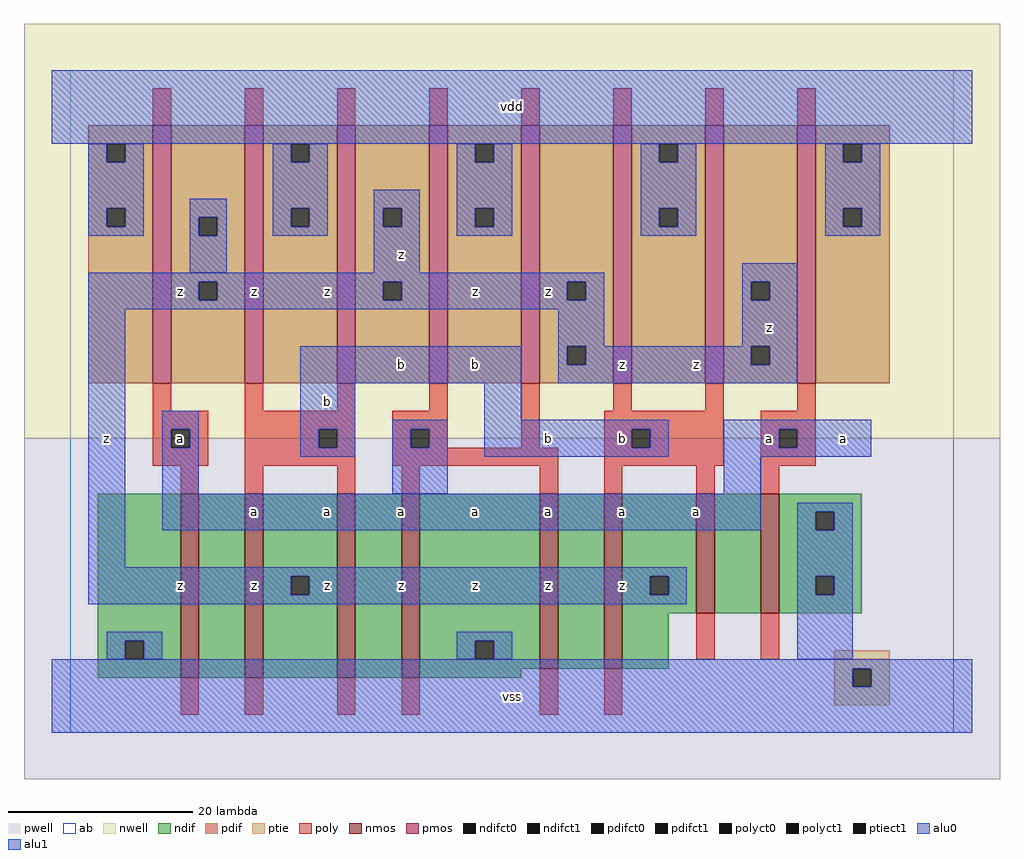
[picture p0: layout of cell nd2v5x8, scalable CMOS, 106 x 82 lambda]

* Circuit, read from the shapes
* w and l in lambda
.subckt nd2v5x8 a b vdd vss z
M1 n1 a vss vss nfet w=20 l=2
M2 z b n1 vss nfet w=20 l=2
M3 n2 b z vss nfet w=20 l=2
M4 vss a n2 vss nfet w=20 l=2
M5 n3 a vss vss nfet w=19 l=2
M6 z b n3 vss nfet w=19 l=2
M7 n4 b z vss nfet w=13 l=2
M8 vss a n4 vss nfet w=13 l=2
M9 z a vdd n5 pfet w=28 l=2 m=4
M10 vdd b z n5 pfet w=28 l=2 m=4
.ends

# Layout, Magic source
magic
tech scmos
<< ab >>
rect 0 0 96 72
<< nwell >>
rect -5 32 101 77
<< pwell >>
rect -5 -5 101 32
<< poly >>
rect 9 66 11 70
rect 19 66 21 70
rect 29 66 31 70
rect 39 66 41 70
rect 49 66 51 70
rect 59 66 61 70
rect 69 66 71 70
rect 79 66 81 70
rect 9 35 11 38
rect 19 35 21 38
rect 29 35 31 38
rect 39 35 41 38
rect 9 33 15 35
rect 9 31 11 33
rect 13 31 15 33
rect 9 29 15 31
rect 19 33 31 35
rect 19 31 27 33
rect 29 31 31 33
rect 19 29 31 31
rect 35 33 41 35
rect 35 31 37 33
rect 39 31 41 33
rect 49 31 51 38
rect 59 35 61 38
rect 69 35 71 38
rect 79 35 81 38
rect 58 33 71 35
rect 58 31 61 33
rect 63 31 71 33
rect 35 29 53 31
rect 12 26 14 29
rect 19 26 21 29
rect 29 26 31 29
rect 36 26 38 29
rect 51 26 53 29
rect 58 29 71 31
rect 75 33 81 35
rect 75 31 77 33
rect 79 31 81 33
rect 75 29 81 31
rect 58 26 60 29
rect 68 26 70 29
rect 75 26 77 29
rect 68 8 70 13
rect 75 8 77 13
rect 12 2 14 6
rect 19 2 21 6
rect 29 2 31 6
rect 36 2 38 6
rect 51 2 53 7
rect 58 2 60 7
<< ndif >>
rect 3 10 12 26
rect 3 8 6 10
rect 8 8 12 10
rect 3 6 12 8
rect 14 6 19 26
rect 21 17 29 26
rect 21 15 24 17
rect 26 15 29 17
rect 21 6 29 15
rect 31 6 36 26
rect 38 10 51 26
rect 38 8 44 10
rect 46 8 51 10
rect 38 7 51 8
rect 53 7 58 26
rect 60 17 68 26
rect 60 15 63 17
rect 65 15 68 17
rect 60 13 68 15
rect 70 13 75 26
rect 77 24 86 26
rect 77 22 81 24
rect 83 22 86 24
rect 77 17 86 22
rect 77 15 81 17
rect 83 15 86 17
rect 77 13 86 15
rect 60 7 65 13
rect 38 6 49 7
<< pdif >>
rect 2 64 9 66
rect 2 62 4 64
rect 6 62 9 64
rect 2 57 9 62
rect 2 55 4 57
rect 6 55 9 57
rect 2 38 9 55
rect 11 56 19 66
rect 11 54 14 56
rect 16 54 19 56
rect 11 49 19 54
rect 11 47 14 49
rect 16 47 19 49
rect 11 38 19 47
rect 21 64 29 66
rect 21 62 24 64
rect 26 62 29 64
rect 21 57 29 62
rect 21 55 24 57
rect 26 55 29 57
rect 21 38 29 55
rect 31 57 39 66
rect 31 55 34 57
rect 36 55 39 57
rect 31 49 39 55
rect 31 47 34 49
rect 36 47 39 49
rect 31 38 39 47
rect 41 64 49 66
rect 41 62 44 64
rect 46 62 49 64
rect 41 57 49 62
rect 41 55 44 57
rect 46 55 49 57
rect 41 38 49 55
rect 51 49 59 66
rect 51 47 54 49
rect 56 47 59 49
rect 51 42 59 47
rect 51 40 54 42
rect 56 40 59 42
rect 51 38 59 40
rect 61 64 69 66
rect 61 62 64 64
rect 66 62 69 64
rect 61 57 69 62
rect 61 55 64 57
rect 66 55 69 57
rect 61 38 69 55
rect 71 49 79 66
rect 71 47 74 49
rect 76 47 79 49
rect 71 42 79 47
rect 71 40 74 42
rect 76 40 79 42
rect 71 38 79 40
rect 81 64 89 66
rect 81 62 84 64
rect 86 62 89 64
rect 81 57 89 62
rect 81 55 84 57
rect 86 55 89 57
rect 81 38 89 55
<< alu1 >>
rect -2 64 98 72
rect 33 57 38 59
rect 33 55 34 57
rect 36 55 38 57
rect 33 50 38 55
rect 2 49 58 50
rect 2 47 14 49
rect 16 47 34 49
rect 36 47 54 49
rect 56 47 58 49
rect 2 46 58 47
rect 2 18 6 46
rect 53 42 58 46
rect 73 49 79 51
rect 73 47 74 49
rect 76 47 79 49
rect 73 42 79 47
rect 25 38 49 42
rect 53 40 54 42
rect 56 40 74 42
rect 76 40 79 42
rect 53 38 79 40
rect 10 33 14 35
rect 10 31 11 33
rect 13 31 14 33
rect 10 26 14 31
rect 25 33 31 38
rect 45 34 49 38
rect 25 31 27 33
rect 29 31 31 33
rect 25 30 31 31
rect 45 33 65 34
rect 45 31 61 33
rect 63 31 65 33
rect 45 30 65 31
rect 71 33 87 34
rect 71 31 77 33
rect 79 31 87 33
rect 71 30 87 31
rect 71 26 75 30
rect 10 22 75 26
rect 2 17 67 18
rect 2 15 24 17
rect 26 15 63 17
rect 65 15 67 17
rect 2 14 67 15
rect -2 7 98 8
rect -2 5 85 7
rect 87 5 98 7
rect -2 0 98 5
<< ptie >>
rect 83 7 89 9
rect 83 5 85 7
rect 87 5 89 7
rect 83 3 89 5
<< nmos >>
rect 12 6 14 26
rect 19 6 21 26
rect 29 6 31 26
rect 36 6 38 26
rect 51 7 53 26
rect 58 7 60 26
rect 68 13 70 26
rect 75 13 77 26
<< pmos >>
rect 9 38 11 66
rect 19 38 21 66
rect 29 38 31 66
rect 39 38 41 66
rect 49 38 51 66
rect 59 38 61 66
rect 69 38 71 66
rect 79 38 81 66
<< polyct0 >>
rect 37 31 39 33
<< polyct1 >>
rect 11 31 13 33
rect 27 31 29 33
rect 61 31 63 33
rect 77 31 79 33
<< ndifct0 >>
rect 6 8 8 10
rect 44 8 46 10
rect 81 22 83 24
rect 81 15 83 17
<< ndifct1 >>
rect 24 15 26 17
rect 63 15 65 17
<< ptiect1 >>
rect 85 5 87 7
<< pdifct0 >>
rect 4 62 6 64
rect 4 55 6 57
rect 14 54 16 56
rect 24 62 26 64
rect 24 55 26 57
rect 44 62 46 64
rect 44 55 46 57
rect 64 62 66 64
rect 64 55 66 57
rect 84 62 86 64
rect 84 55 86 57
<< pdifct1 >>
rect 14 47 16 49
rect 34 55 36 57
rect 34 47 36 49
rect 54 47 56 49
rect 54 40 56 42
rect 74 47 76 49
rect 74 40 76 42
<< alu0 >>
rect 2 62 4 64
rect 6 62 8 64
rect 2 57 8 62
rect 22 62 24 64
rect 26 62 28 64
rect 2 55 4 57
rect 6 55 8 57
rect 2 54 8 55
rect 13 56 17 58
rect 13 54 14 56
rect 16 54 17 56
rect 22 57 28 62
rect 42 62 44 64
rect 46 62 48 64
rect 22 55 24 57
rect 26 55 28 57
rect 22 54 28 55
rect 13 50 17 54
rect 42 57 48 62
rect 42 55 44 57
rect 46 55 48 57
rect 42 54 48 55
rect 62 62 64 64
rect 66 62 68 64
rect 62 57 68 62
rect 62 55 64 57
rect 66 55 68 57
rect 62 54 68 55
rect 82 62 84 64
rect 86 62 88 64
rect 82 57 88 62
rect 82 55 84 57
rect 86 55 88 57
rect 82 54 88 55
rect 35 33 41 34
rect 35 31 37 33
rect 39 31 41 33
rect 35 26 41 31
rect 79 24 85 25
rect 79 22 81 24
rect 83 22 85 24
rect 79 17 85 22
rect 79 15 81 17
rect 83 15 85 17
rect 4 10 10 11
rect 4 8 6 10
rect 8 8 10 10
rect 42 10 48 11
rect 42 8 44 10
rect 46 8 48 10
rect 79 8 85 15
<< labels >>
rlabel alu1 12 16 12 16 6 z
rlabel alu1 4 32 4 32 6 z
rlabel polyct1 12 32 12 32 6 a
rlabel alu1 12 48 12 48 6 z
rlabel alu1 28 16 28 16 6 z
rlabel alu1 20 16 20 16 6 z
rlabel alu1 20 24 20 24 6 a
rlabel alu1 28 24 28 24 6 a
rlabel alu1 28 36 28 36 6 b
rlabel alu1 20 48 20 48 6 z
rlabel alu1 28 48 28 48 6 z
rlabel alu1 48 4 48 4 6 vss
rlabel alu1 52 16 52 16 6 z
rlabel alu1 44 16 44 16 6 z
rlabel alu1 36 16 36 16 6 z
rlabel alu1 36 24 36 24 6 a
rlabel alu1 52 24 52 24 6 a
rlabel alu1 44 24 44 24 6 a
rlabel alu1 52 32 52 32 6 b
rlabel alu1 36 40 36 40 6 b
rlabel alu1 44 40 44 40 6 b
rlabel alu1 36 52 36 52 6 z
rlabel alu1 52 48 52 48 6 z
rlabel alu1 44 48 44 48 6 z
rlabel alu1 48 68 48 68 6 vdd
rlabel alu1 60 16 60 16 6 z
rlabel alu1 60 24 60 24 6 a
rlabel alu1 68 24 68 24 6 a
rlabel alu1 76 32 76 32 6 a
rlabel alu1 60 32 60 32 6 b
rlabel alu1 60 40 60 40 6 z
rlabel alu1 68 40 68 40 6 z
rlabel alu1 76 44 76 44 6 z
rlabel alu1 84 32 84 32 6 a
<< end >>
